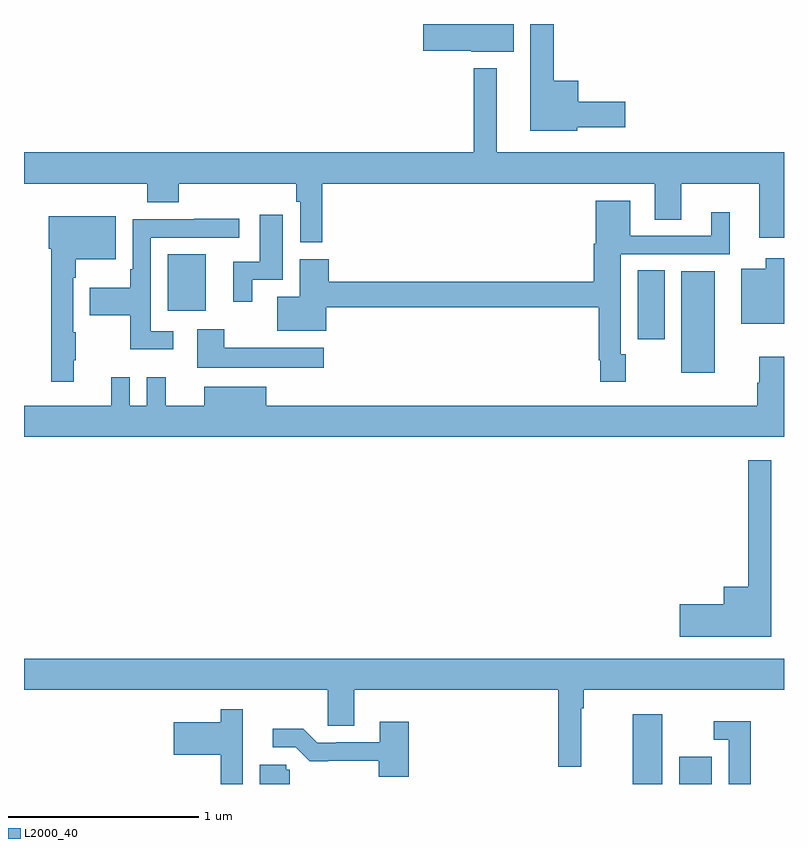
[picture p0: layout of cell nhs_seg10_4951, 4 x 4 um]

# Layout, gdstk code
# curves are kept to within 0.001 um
import gdstk
lib = gdstk.Library(unit=1e-6, precision=1e-09)
def R(c, l, rs):  # rectangles x0, y0, x1, y1
    for r in rs: c.add(gdstk.rectangle(r[:2], r[2:], *l))
def P(c, l, *ps):  # polygons
    for p in ps: c.add(gdstk.Polygon(p, *l))
L2000_40 = (2000, 40)

nhs_seg10_4951 = lib.new_cell('nhs_seg10_4951')
R(nhs_seg10_4951, L2000_40, [(400.205,1286.5,400.36,1286.866), (400.448,1286.5,400.621,1286.644), (400.46,1288.664,400.636,1289.2), (400.229,1288.842,400.372,1289.204), (397.757,1288.991,397.957,1289.287)])
P(nhs_seg10_4951, L2000_40, [(399.577,1290.5),(399.102,1290.5),(399.102,1290.359),(399.354,1290.359),(399.354,1290.353),(399.577,1290.353)],
  [(399.912,1289.957),(400.165,1289.957),(400.165,1290.092),(399.916,1290.092),(399.916,1290.202),(399.787,1290.202),(399.787,1290.5),(399.665,1290.5),(399.665,1289.939),(399.912,1289.939)],
  [(398.57,1289.66),(400.319,1289.66),(400.319,1289.47),(400.459,1289.47),(400.459,1289.66),(400.871,1289.66),(400.871,1289.376),(401,1289.376),(401,1289.824),(399.487,1289.824),(399.487,1290.268),(399.366,1290.268),(399.366,1289.824),(397,1289.824),(397,1289.66),(397.649,1289.66),(397.649,1289.561),(397.814,1289.561),(397.814,1289.66),(398.434,1289.66),(398.434,1289.564),(398.454,1289.564),(398.454,1289.352),(398.57,1289.352)],
  [(400.167,1288.761),(400.14,1288.761),(400.14,1289.289),(400.714,1289.289),(400.714,1289.509),(400.616,1289.509),(400.616,1289.385),(400.192,1289.385),(400.192,1289.569),(400.01,1289.569),(400.01,1289.343),(399.998,1289.343),(399.998,1289.144),(398.603,1289.144),(398.603,1289.263),(398.45,1289.263),(398.45,1289.065),(398.333,1289.065),(398.333,1288.886),(398.59,1288.886),(398.59,1289.008),(400.024,1289.008),(400.024,1288.729),(400.032,1288.729),(400.032,1288.617),(400.167,1288.617)],
  [(398.2,1289.154),(398.362,1289.154),(398.362,1289.497),(398.24,1289.497),(398.24,1289.25),(398.102,1289.25),(398.102,1289.037),(398.2,1289.037)],
  [(397.262,1288.729),(397.273,1288.729),(397.273,1288.877),(397.26,1288.877),(397.26,1289.165),(397.273,1289.165),(397.273,1289.261),(397.483,1289.261),(397.483,1289.488),(397.13,1289.488),(397.13,1289.318),(397.144,1289.318),(397.144,1288.617),(397.262,1288.617)],
  [(397.786,1288.884),(397.668,1288.884),(397.668,1289.376),(398.134,1289.376),(398.134,1289.474),(397.897,1289.474),(397.897,1289.472),(397.572,1289.472),(397.572,1289.209),(397.56,1289.209),(397.56,1289.113),(397.345,1289.113),(397.345,1288.966),(397.56,1288.966),(397.56,1288.787),(397.786,1288.787)],
  [(401,1289.266),(400.904,1289.266),(400.904,1289.212),(400.775,1289.212),(400.775,1288.922),(401,1288.922)],
  [(398.578,1288.795),(398.053,1288.795),(398.053,1288.894),(397.913,1288.894),(397.913,1288.691),(398.578,1288.691)],
  [(401,1288.75),(400.871,1288.75),(400.871,1288.613),(400.859,1288.613),(400.859,1288.492),(398.275,1288.492),(398.275,1288.591),(397.949,1288.591),(397.949,1288.492),(397.745,1288.492),(397.745,1288.642),(397.647,1288.642),(397.647,1288.492),(397.557,1288.492),(397.557,1288.642),(397.46,1288.642),(397.46,1288.492),(397,1288.492),(397,1288.328),(401,1288.328)],
  [(400.933,1288.204),(400.812,1288.204),(400.812,1287.538),(400.682,1287.538),(400.682,1287.446),(400.452,1287.446),(400.452,1287.275),(400.933,1287.275)],
  [(399.932,1286.9),(399.947,1286.9),(399.947,1286.996),(401,1286.996),(401,1287.16),(397,1287.16),(397,1286.996),(398.598,1286.996),(398.598,1286.806),(398.737,1286.806),(398.737,1286.996),(399.811,1286.996),(399.811,1286.592),(399.932,1286.592)],
  [(398.151,1286.67),(398.152,1286.67),(398.152,1286.893),(398.035,1286.893),(398.035,1286.824),(397.788,1286.824),(397.788,1286.654),(398.035,1286.654),(398.035,1286.5),(398.151,1286.5)],
  [(400.826,1286.83),(400.629,1286.83),(400.629,1286.733),(400.71,1286.733),(400.71,1286.5),(400.826,1286.5)],
  [(399.026,1286.827),(398.873,1286.827),(398.873,1286.721),(398.644,1286.721),(398.644,1286.718),(398.544,1286.718),(398.471,1286.791),(398.31,1286.791),(398.31,1286.694),(398.43,1286.694),(398.503,1286.621),(398.866,1286.622),(398.866,1286.537),(399.026,1286.537)],
  [(398.398,1286.574),(398.379,1286.574),(398.379,1286.601),(398.24,1286.601),(398.24,1286.5),(398.398,1286.5)])

lib.write_gds('nhs_seg10_4951.gds')
